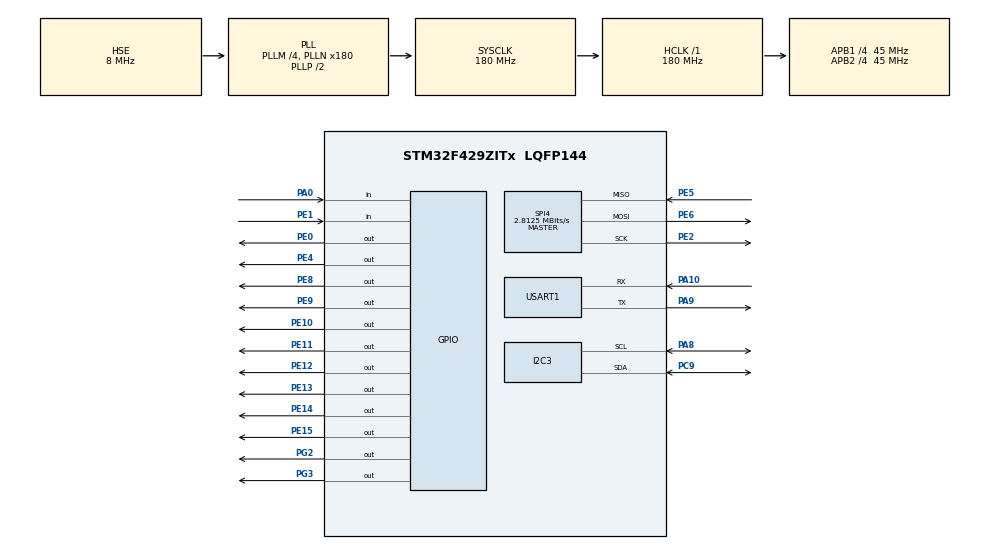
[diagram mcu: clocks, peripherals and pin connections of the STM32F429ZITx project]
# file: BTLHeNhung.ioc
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I2C3.I2C_Mode=I2C_Fast
Mcu.Family=STM32F4
Mcu.Name=STM32F429ZITx
Mcu.Package=LQFP144
NVIC.PriorityGroup=NVIC_PRIORITYGROUP_4
NVIC.TIM6_DAC_IRQn=true\:0\:0\:false\:false\:true\:true\:true\:true
PA0/WKUP.Signal=GPIO_Input
PA10.Mode=Asynchronous
PA10.Signal=USART1_RX
PA13.Mode=Serial_Wire
PA13.Signal=SYS_JTMS-SWDIO
PA14.Mode=Serial_Wire
PA14.Signal=SYS_JTCK-SWCLK
PA8.Mode=I2C
PA8.Signal=I2C3_SCL
PA9.Mode=Asynchronous
PA9.Signal=USART1_TX
PC9.Mode=I2C
PC9.Signal=I2C3_SDA
PE0.Signal=GPIO_Output
PE1.Signal=GPIO_Input
PE10.Signal=GPIO_Output
PE11.Signal=GPIO_Output
PE12.Signal=GPIO_Output
PE13.Signal=GPIO_Output
PE14.Signal=GPIO_Output
PE15.Signal=GPIO_Output
PE2.Mode=Full_Duplex_Master
PE2.Signal=SPI4_SCK
PE4.Signal=GPIO_Output
PE5.Mode=Full_Duplex_Master
PE5.Signal=SPI4_MISO
PE6.Mode=Full_Duplex_Master
PE6.Signal=SPI4_MOSI
PE8.Signal=GPIO_Output
PE9.Signal=GPIO_Output
PG2.Signal=GPIO_Output
PG3.Signal=GPIO_Output
PH0/OSC_IN.Mode=HSE-External-Oscillator
PH0/OSC_IN.Signal=RCC_OSC_IN
PH1/OSC_OUT.Mode=HSE-External-Oscillator
PH1/OSC_OUT.Signal=RCC_OSC_OUT
ProjectManager.HeapSize=0x200
ProjectManager.StackSize=0x400
ProjectManager.TargetToolchain=STM32CubeIDE
RCC.48MHZClocksFreq_Value=90000000
RCC.AHBFreq_Value=180000000
RCC.APB1CLKDivider=RCC_HCLK_DIV4
RCC.APB1Freq_Value=45000000
RCC.APB1TimFreq_Value=90000000
RCC.APB2CLKDivider=RCC_HCLK_DIV4
RCC.APB2Freq_Value=45000000
RCC.APB2TimFreq_Value=90000000
RCC.CortexFreq_Value=180000000
RCC.HCLKFreq_Value=180000000
RCC.HSE_VALUE=8000000
RCC.HSI_VALUE=16000000
RCC.LSE_VALUE=32768
RCC.PLLM=4
RCC.PLLN=180
RCC.PLLSourceVirtual=RCC_PLLSOURCE_HSE
RCC.SYSCLKFreq_VALUE=180000000
RCC.SYSCLKSource=RCC_SYSCLKSOURCE_PLLCLK
RCC.VCOOutputFreq_Value=360000000
SPI4.BaudRatePrescaler=SPI_BAUDRATEPRESCALER_16
SPI4.CalculateBaudRate=2.8125 MBits/s
SPI4.Direction=SPI_DIRECTION_2LINES
SPI4.Mode=SPI_MODE_MASTER
SPI4.VirtualType=VM_MASTER
TIM2.Prescaler=71
TIM6.Period=99
TIM6.Prescaler=89
USART1.VirtualMode=VM_ASYNC
VP_TIM2_VS_ClockSourceINT.Mode=Internal
VP_TIM6_VS_ClockSourceINT.Mode=Enable_Timer
board=custom

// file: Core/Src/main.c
/* USER CODE BEGIN Header */
/**
  ******************************************************************************
  * @file           : main.c
  * @brief          : Main program body
  ******************************************************************************
  * @attention
  *
  * Copyright (c) 2025 STMicroelectronics.
  * All rights reserved.
  *
  * This software is licensed under terms that can be found in the LICENSE file
  * in the root directory of this software component.
  * If no LICENSE file comes with this software, it is provided AS-IS.
  *
  ******************************************************************************
  */
/* USER CODE END Header */
#include "main.h"

/* USER CODE BEGIN Includes */
#include <stdio.h>
#include <string.h>
#include "tm_stm32f4_mfrc522.h"
#include "7seg.h"
#include <stdbool.h>

/* USER CODE END Includes */

/* USER CODE BEGIN PD */
#define HX711_SCK_GPIO_Port GPIOB
#define HX711_SCK_Pin GPIO_PIN_6
#define HX711_DT_GPIO_Port GPIOB
#define HX711_DT_Pin GPIO_PIN_7
/* USER CODE END PD */

I2C_HandleTypeDef hi2c3;

SPI_HandleTypeDef hspi4;

TIM_HandleTypeDef htim2;
TIM_HandleTypeDef htim6;

UART_HandleTypeDef huart1;

/* USER CODE BEGIN PV */
int TIM6_Count;
unsigned char LED_Value;

/* USER CODE END PV */

void SystemClock_Config(void);
static void MX_GPIO_Init(void);
static void MX_I2C3_Init(void);
static void MX_SPI4_Init(void);
static void MX_USART1_UART_Init(void);
static void MX_TIM6_Init(void);
static void MX_TIM2_Init(void);

/* USER CODE BEGIN 0 */
typedef struct {
	int stt;
	uint8_t CardID[5];
	int canNang;
} DuLieuCanNang;

#define SCK_PIN   GPIO_PIN_0
#define SCK_PORT  GPIOE
#define DT_PIN    GPIO_PIN_1
#define DT_PORT   GPIOE

uint32_t tare = 8412745;
float knownOriginal = 148000;  // in milli gram
float knownHX711 = 165012;
int weight;

void microDelay(uint16_t delay)
{
  __HAL_TIM_SET_COUNTER(&htim2, 0);
  while (__HAL_TIM_GET_COUNTER(&htim2) < delay);
}

int32_t getHX711(void)
{
  uint32_t data = 0;
  uint32_t startTime = HAL_GetTick();
  while(HAL_GPIO_ReadPin(DT_PORT, DT_PIN) == GPIO_PIN_SET)
  {
    if(HAL_GetTick() - startTime > 200)
      return 0;
  }
  for(int8_t len=0; len<24 ; len++)
  {
    HAL_GPIO_WritePin(SCK_PORT, SCK_PIN, GPIO_PIN_SET);
    microDelay(1);
    data = data << 1;
    HAL_GPIO_WritePin(SCK_PORT, SCK_PIN, GPIO_PIN_RESET);
    microDelay(1);
    if(HAL_GPIO_ReadPin(DT_PORT, DT_PIN) == GPIO_PIN_SET)
      data ++;
  }
  data = data ^ 0x800000;
  HAL_GPIO_WritePin(SCK_PORT, SCK_PIN, GPIO_PIN_SET);
  microDelay(1);
  HAL_GPIO_WritePin(SCK_PORT, SCK_PIN, GPIO_PIN_RESET);
  microDelay(1);
  return data;
}

int weigh()
{
  int32_t  total = 0;
  int32_t  samples = 50;
  int milligram;
  float coefficient;
  for(uint16_t i=0 ; i<samples ; i++)
  {
      total += getHX711();
  }
  int32_t average = (int32_t)(total / samples);
  coefficient = knownOriginal / knownHX711;
  milligram = (int)(average-tare)*coefficient;
  return milligram;
}
/* USER CODE END 0 */

int main(void)
{

  /* MCU Configuration--------------------------------------------------------*/

  /* Reset of all peripherals, Initializes the Flash interface and the Systick. */
  HAL_Init();

  /* Configure the system clock */
  SystemClock_Config();

  /* Initialize all configured peripherals */
  MX_GPIO_Init();
  MX_I2C3_Init();
  MX_SPI4_Init();
  MX_USART1_UART_Init();
  MX_TIM6_Init();
  MX_TIM2_Init();
  /* USER CODE BEGIN 2 */
   HAL_TIM_Base_Start(&htim2); // Cho microDelay
   // Các dòng HX711 init
   HAL_GPIO_WritePin(SCK_PORT, SCK_PIN, GPIO_PIN_SET); // HX711 SCK init
   HAL_Delay(10);
   HAL_GPIO_WritePin(SCK_PORT, SCK_PIN, GPIO_PIN_RESET);
   HAL_Delay(10);

   HAL_TIM_Base_Start_IT(&htim6); // Quan trọng: Khởi động TIM6 ở chế độ ngắt
   Set7SegDisplayValue(0); // Giá trị ban đầu

   DuLieuCanNang duLieu[1000];
   int stt = 0; // Biến stt nên được tăng khi ghi dữ liệu mới.
   char buf[100];
   TM_MFRC522_Init();
  /* USER CODE END 2 */

  /* Infinite loop */
  while (1)
  {

    /* USER CODE BEGIN 3 */
	  uint8_t CardID[5];
	  weight = weigh()/1000; // in milligram
	  if(weight < 0) weight = 0;
	  Set7SegDisplayValue(weight/10);
	  sprintf(buf, "Can Nang: %d",weight);
	  HAL_UART_Transmit(&huart1, (uint8_t *)buf, strlen(buf), 100);
	  HAL_UART_Transmit(&huart1, (uint8_t *)"\n", 1, 100);
	  HAL_Delay(50);
	  if(TM_MFRC522_Check(CardID) == MI_OK){
	      sprintf(buf, "ID: %02X%02X%02X%02X%02X", CardID[0], CardID[1], CardID[2], CardID[3],CardID[4]);
	      HAL_UART_Transmit(&huart1, (uint8_t *)buf, strlen(buf), 1000);
	      HAL_UART_Transmit(&huart1, (uint8_t *)"\n", 1, 1000);

	      bool tonTai = false;

	      for(int i = 0; i <= stt; i++){
	          if(memcmp(duLieu[i].CardID, CardID, sizeof(CardID)) == 0){
	              tonTai = true;

	              if(weight > 0){
	                  // Cập nhật dữ liệu cũ
	                  duLieu[i].canNang = weight;
	                  sprintf(buf, "Cap nhat du lieu: STT: %d , ID: %02X%02X%02X%02X%02X , Can Nang Moi: %d",
	                          duLieu[i].stt, duLieu[i].CardID[0], duLieu[i].CardID[1], duLieu[i].CardID[2], duLieu[i].CardID[3], duLieu[i].CardID[4], duLieu[i].canNang);
	              } else {
	                  // Hiển thị lại dữ liệu cũ
	                  sprintf(buf, "Du lieu cu: STT: %d , ID: %02X%02X%02X%02X%02X , Can Nang: %d",
	                          duLieu[i].stt, duLieu[i].CardID[0], duLieu[i].CardID[1], duLieu[i].CardID[2], duLieu[i].CardID[3], duLieu[i].CardID[4], duLieu[i].canNang);

	                  weight = duLieu[i].canNang;
	                  Set7SegDisplayValue(weight / 10);
	              }

	              HAL_UART_Transmit(&huart1, (uint8_t *)buf, strlen(buf), 1000);
	              HAL_UART_Transmit(&huart1, (uint8_t *)"\n", 1, 1000);
	              break;
	          }
	      }

	      if(!tonTai && weight > 0){
	          stt++;
	          duLieu[stt].stt = stt;
	          memcpy(duLieu[stt].CardID, CardID, sizeof(CardID));
	          duLieu[stt].canNang = weight;

	          sprintf(buf, "Ghi du lieu moi: STT: %d , ID: %02X%02X%02X%02X%02X , Can Nang: %d",
	                  duLieu[stt].stt, duLieu[stt].CardID[0], duLieu[stt].CardID[1], duLieu[stt].CardID[2], duLieu[stt].CardID[3], duLieu[stt].CardID[4], duLieu[stt].canNang);

	          HAL_UART_Transmit(&huart1, (uint8_t *)buf, strlen(buf), 1000);
	          HAL_UART_Transmit(&huart1, (uint8_t *)"\n", 1, 1000);
	      } else if(!tonTai && weight <= 0){
	          sprintf(buf, "Khong ton tai du lieu cu");
	          HAL_UART_Transmit(&huart1, (uint8_t *)buf, strlen(buf), 1000);
	          HAL_UART_Transmit(&huart1, (uint8_t *)"\n", 1, 1000);
	      }

	      weight = 0;
	      HAL_Delay(50);
	  }else{
		  sprintf(buf, "Khong co the !");
		  HAL_UART_Transmit(&huart1, (uint8_t *)buf, strlen(buf), 1000);
		  HAL_UART_Transmit(&huart1, (uint8_t *)"\n", 1, 1000);
		  HAL_Delay(50);
	  }

    /* USER CODE BEGIN 3 */
  }
  /* USER CODE END 3 */
}

void SystemClock_Config(void)
{
  RCC_OscInitTypeDef RCC_OscInitStruct = {0};
  RCC_ClkInitTypeDef RCC_ClkInitStruct = {0};

  /** Configure the main internal regulator output voltage
  */
  __HAL_RCC_PWR_CLK_ENABLE();
  __HAL_PWR_VOLTAGESCALING_CONFIG(PWR_REGULATOR_VOLTAGE_SCALE1);

  /** Initializes the RCC Oscillators according to the specified parameters
  * in the RCC_OscInitTypeDef structure.
  */
  RCC_OscInitStruct.OscillatorType = RCC_OSCILLATORTYPE_HSE;
  RCC_OscInitStruct.HSEState = RCC_HSE_ON;
  RCC_OscInitStruct.PLL.PLLState = RCC_PLL_ON;
  RCC_OscInitStruct.PLL.PLLSource = RCC_PLLSOURCE_HSE;
  RCC_OscInitStruct.PLL.PLLM = 4;
  RCC_OscInitStruct.PLL.PLLN = 180;
  RCC_OscInitStruct.PLL.PLLP = RCC_PLLP_DIV2;
  RCC_OscInitStruct.PLL.PLLQ = 4;
  if (HAL_RCC_OscConfig(&RCC_OscInitStruct) != HAL_OK)
  {
    Error_Handler();
  }

  /** Activate the Over-Drive mode
  */
  if (HAL_PWREx_EnableOverDrive() != HAL_OK)
  {
    Error_Handler();
  }

  /** Initializes the CPU, AHB and APB buses clocks
  */
  RCC_ClkInitStruct.ClockType = RCC_CLOCKTYPE_HCLK|RCC_CLOCKTYPE_SYSCLK
                              |RCC_CLOCKTYPE_PCLK1|RCC_CLOCKTYPE_PCLK2;
  RCC_ClkInitStruct.SYSCLKSource = RCC_SYSCLKSOURCE_PLLCLK;
  RCC_ClkInitStruct.AHBCLKDivider = RCC_SYSCLK_DIV1;
  RCC_ClkInitStruct.APB1CLKDivider = RCC_HCLK_DIV4;
  RCC_ClkInitStruct.APB2CLKDivider = RCC_HCLK_DIV4;

  if (HAL_RCC_ClockConfig(&RCC_ClkInitStruct, FLASH_LATENCY_5) != HAL_OK)
  {
    Error_Handler();
  }
}

static void MX_I2C3_Init(void)
{

  hi2c3.Instance = I2C3;
  hi2c3.Init.ClockSpeed = 400000;
  hi2c3.Init.DutyCycle = I2C_DUTYCYCLE_2;
  hi2c3.Init.OwnAddress1 = 0;
  hi2c3.Init.AddressingMode = I2C_ADDRESSINGMODE_7BIT;
  hi2c3.Init.DualAddressMode = I2C_DUALADDRESS_DISABLE;
  hi2c3.Init.OwnAddress2 = 0;
  hi2c3.Init.GeneralCallMode = I2C_GENERALCALL_DISABLE;
  hi2c3.Init.NoStretchMode = I2C_NOSTRETCH_DISABLE;
  if (HAL_I2C_Init(&hi2c3) != HAL_OK)
  {
    Error_Handler();
  }

  /** Configure Analogue filter
  */
  if (HAL_I2CEx_ConfigAnalogFilter(&hi2c3, I2C_ANALOGFILTER_ENABLE) != HAL_OK)
  {
    Error_Handler();
  }

  /** Configure Digital filter
  */
  if (HAL_I2CEx_ConfigDigitalFilter(&hi2c3, 0) != HAL_OK)
  {
    Error_Handler();
  }

}

static void MX_SPI4_Init(void)
{

  /* SPI4 parameter configuration*/
  hspi4.Instance = SPI4;
  hspi4.Init.Mode = SPI_MODE_MASTER;
  hspi4.Init.Direction = SPI_DIRECTION_2LINES;
  hspi4.Init.DataSize = SPI_DATASIZE_8BIT;
  hspi4.Init.CLKPolarity = SPI_POLARITY_LOW;
  hspi4.Init.CLKPhase = SPI_PHASE_1EDGE;
  hspi4.Init.NSS = SPI_NSS_SOFT;
  hspi4.Init.BaudRatePrescaler = SPI_BAUDRATEPRESCALER_16;
  hspi4.Init.FirstBit = SPI_FIRSTBIT_MSB;
  hspi4.Init.TIMode = SPI_TIMODE_DISABLE;
  hspi4.Init.CRCCalculation = SPI_CRCCALCULATION_DISABLE;
  hspi4.Init.CRCPolynomial = 10;
  if (HAL_SPI_Init(&hspi4) != HAL_OK)
  {
    Error_Handler();
  }

}

static void MX_TIM2_Init(void)
{

  TIM_ClockConfigTypeDef sClockSourceConfig = {0};
  TIM_MasterConfigTypeDef sMasterConfig = {0};

  htim2.Instance = TIM2;
  htim2.Init.Prescaler = 71;
  htim2.Init.CounterMode = TIM_COUNTERMODE_UP;
  htim2.Init.Period = 4294967295;
  htim2.Init.ClockDivision = TIM_CLOCKDIVISION_DIV1;
  htim2.Init.AutoReloadPreload = TIM_AUTORELOAD_PRELOAD_DISABLE;
  if (HAL_TIM_Base_Init(&htim2) != HAL_OK)
  {
    Error_Handler();
  }
  sClockSourceConfig.ClockSource = TIM_CLOCKSOURCE_INTERNAL;
  if (HAL_TIM_ConfigClockSource(&htim2, &sClockSourceConfig) != HAL_OK)
  {
    Error_Handler();
  }
  sMasterConfig.MasterOutputTrigger = TIM_TRGO_RESET;
  sMasterConfig.MasterSlaveMode = TIM_MASTERSLAVEMODE_DISABLE;
  if (HAL_TIMEx_MasterConfigSynchronization(&htim2, &sMasterConfig) != HAL_OK)
  {
    Error_Handler();
  }

}

static void MX_TIM6_Init(void)
{

  TIM_MasterConfigTypeDef sMasterConfig = {0};

  htim6.Instance = TIM6;
  htim6.Init.Prescaler = 89;
  htim6.Init.CounterMode = TIM_COUNTERMODE_UP;
  htim6.Init.Period = 99;
  htim6.Init.AutoReloadPreload = TIM_AUTORELOAD_PRELOAD_DISABLE;
  if (HAL_TIM_Base_Init(&htim6) != HAL_OK)
  {
    Error_Handler();
  }
  sMasterConfig.MasterOutputTrigger = TIM_TRGO_RESET;
  sMasterConfig.MasterSlaveMode = TIM_MASTERSLAVEMODE_DISABLE;
  if (HAL_TIMEx_MasterConfigSynchronization(&htim6, &sMasterConfig) != HAL_OK)
  {
    Error_Handler();
  }

}

static void MX_USART1_UART_Init(void)
{

  huart1.Instance = USART1;
  huart1.Init.BaudRate = 115200;
  huart1.Init.WordLength = UART_WORDLENGTH_8B;
  huart1.Init.StopBits = UART_STOPBITS_1;
  huart1.Init.Parity = UART_PARITY_NONE;
  huart1.Init.Mode = UART_MODE_TX_RX;
  huart1.Init.HwFlowCtl = UART_HWCONTROL_NONE;
  huart1.Init.OverSampling = UART_OVERSAMPLING_16;
  if (HAL_UART_Init(&huart1) != HAL_OK)
  {
    Error_Handler();
  }

}

static void MX_GPIO_Init(void)
{
  GPIO_InitTypeDef GPIO_InitStruct = {0};

  /* GPIO Ports Clock Enable */
  __HAL_RCC_GPIOE_CLK_ENABLE();
  __HAL_RCC_GPIOH_CLK_ENABLE();
  __HAL_RCC_GPIOA_CLK_ENABLE();
  __HAL_RCC_GPIOG_CLK_ENABLE();
  __HAL_RCC_GPIOC_CLK_ENABLE();

  /*Configure GPIO pin Output Level */
  HAL_GPIO_WritePin(GPIOE, GPIO_PIN_4|GPIO_PIN_8|GPIO_PIN_9|GPIO_PIN_10
                          |GPIO_PIN_11|GPIO_PIN_12|GPIO_PIN_13|GPIO_PIN_14
                          |GPIO_PIN_15|GPIO_PIN_0, GPIO_PIN_RESET);

  /*Configure GPIO pin Output Level */
  HAL_GPIO_WritePin(GPIOG, GPIO_PIN_2|GPIO_PIN_3, GPIO_PIN_RESET);

  /*Configure GPIO pins : PE4 PE8 PE9 PE10
                           PE11 PE12 PE13 PE14
                           PE15 PE0 */
  GPIO_InitStruct.Pin = GPIO_PIN_4|GPIO_PIN_8|GPIO_PIN_9|GPIO_PIN_10
                          |GPIO_PIN_11|GPIO_PIN_12|GPIO_PIN_13|GPIO_PIN_14
                          |GPIO_PIN_15|GPIO_PIN_0;
  GPIO_InitStruct.Mode = GPIO_MODE_OUTPUT_PP;
  GPIO_InitStruct.Pull = GPIO_NOPULL;
  GPIO_InitStruct.Speed = GPIO_SPEED_FREQ_LOW;
  HAL_GPIO_Init(GPIOE, &GPIO_InitStruct);

  /*Configure GPIO pin : PA0 */
  GPIO_InitStruct.Pin = GPIO_PIN_0;
  GPIO_InitStruct.Mode = GPIO_MODE_INPUT;
  GPIO_InitStruct.Pull = GPIO_NOPULL;
  HAL_GPIO_Init(GPIOA, &GPIO_InitStruct);

  /*Configure GPIO pins : PG2 PG3 */
  GPIO_InitStruct.Pin = GPIO_PIN_2|GPIO_PIN_3;
  GPIO_InitStruct.Mode = GPIO_MODE_OUTPUT_PP;
  GPIO_InitStruct.Pull = GPIO_NOPULL;
  GPIO_InitStruct.Speed = GPIO_SPEED_FREQ_LOW;
  HAL_GPIO_Init(GPIOG, &GPIO_InitStruct);

  /*Configure GPIO pin : PE1 */
  GPIO_InitStruct.Pin = GPIO_PIN_1;
  GPIO_InitStruct.Mode = GPIO_MODE_INPUT;
  GPIO_InitStruct.Pull = GPIO_NOPULL;
  HAL_GPIO_Init(GPIOE, &GPIO_InitStruct);

}

/* USER CODE BEGIN 4 */
//Implement hàm Callback của Timer
void HAL_TIM_PeriodElapsedCallback(TIM_HandleTypeDef *htim)
{
  if (htim->Instance == TIM6)
  {
    Run7SegDisplay(); // Gọi hàm quét LED trong ngắt timer
  }
}
/* USER CODE END 4 */

void Error_Handler(void)
{
  __disable_irq();
  while (1)
  {
  }
}
